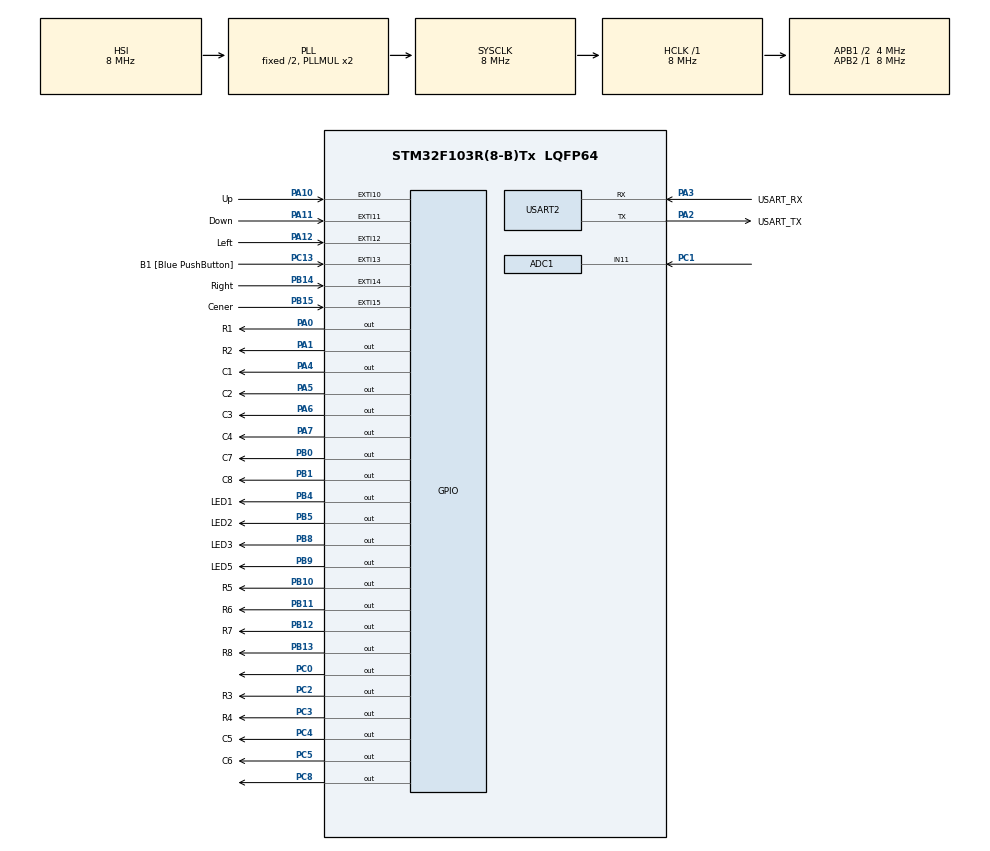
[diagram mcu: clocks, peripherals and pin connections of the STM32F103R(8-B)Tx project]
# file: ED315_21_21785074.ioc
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ADC1.Channel-1\#ChannelRegularConversion=ADC_CHANNEL_11
ADC1.NbrOfConversion=1
ADC1.NbrOfConversionFlag=1
ADC1.Rank-1\#ChannelRegularConversion=1
ADC1.SamplingTime-1\#ChannelRegularConversion=ADC_SAMPLETIME_1CYCLE_5
ADC1.master=1
Mcu.Family=STM32F1
Mcu.Name=STM32F103R(8-B)Tx
Mcu.Package=LQFP64
NVIC.EXTI15_10_IRQn=true\:0\:0\:false\:false\:true\:true\:true
NVIC.PriorityGroup=NVIC_PRIORITYGROUP_4
PA0-WKUP.GPIO_Label=R1
PA0-WKUP.Signal=GPIO_Output
PA1.GPIO_Label=R2
PA1.Signal=GPIO_Output
PA10.GPIO_Label=Up
PA10.GPIO_PuPd=GPIO_PULLUP
PA10.Signal=GPXTI10
PA11.GPIO_Label=Down
PA11.GPIO_PuPd=GPIO_PULLUP
PA11.Signal=GPXTI11
PA12.GPIO_Label=Left
PA12.GPIO_PuPd=GPIO_PULLUP
PA12.Signal=GPXTI12
PA13.GPIO_Label=TMS
PA13.Mode=Serial_Wire
PA13.Signal=SYS_JTMS-SWDIO
PA14.GPIO_Label=TCK
PA14.Mode=Serial_Wire
PA14.Signal=SYS_JTCK-SWCLK
PA2.GPIO_Label=USART_TX
PA2.GPIO_Mode=GPIO_MODE_AF_PP
PA2.GPIO_PuPd=GPIO_NOPULL
PA2.GPIO_Speed=GPIO_SPEED_FREQ_LOW
PA2.Mode=Asynchronous
PA2.Signal=USART2_TX
PA3.GPIO_Label=USART_RX
PA3.GPIO_Mode=GPIO_MODE_AF_PP
PA3.GPIO_PuPd=GPIO_NOPULL
PA3.GPIO_Speed=GPIO_SPEED_FREQ_LOW
PA3.Mode=Asynchronous
PA3.Signal=USART2_RX
PA4.GPIO_Label=C1
PA4.Signal=GPIO_Output
PA5.GPIO_Label=C2
PA5.Signal=GPIO_Output
PA6.GPIO_Label=C3
PA6.Signal=GPIO_Output
PA7.GPIO_Label=C4
PA7.Signal=GPIO_Output
PA8.Signal=S_TIM1_CH1
PA9.Signal=S_TIM1_CH2
PB0.GPIO_Label=C7
PB0.Signal=GPIO_Output
PB1.GPIO_Label=C8
PB1.Signal=GPIO_Output
PB10.GPIO_Label=R5
PB10.Signal=GPIO_Output
PB11.GPIO_Label=R6
PB11.Signal=GPIO_Output
PB12.GPIO_Label=R7
PB12.Signal=GPIO_Output
PB13.GPIO_Label=R8
PB13.Signal=GPIO_Output
PB14.GPIO_Label=Right
PB14.GPIO_PuPd=GPIO_PULLUP
PB14.Signal=GPXTI14
PB15.GPIO_Label=Cener
PB15.GPIO_PuPd=GPIO_PULLUP
PB15.Signal=GPXTI15
PB3.GPIO_Label=SWO
PB3.Signal=SYS_JTDO-TRACESWO
PB4.GPIO_Label=LED1
PB4.Signal=GPIO_Output
PB5.GPIO_Label=LED2
PB5.Signal=GPIO_Output
PB6.Signal=I2C1_SCL
PB7.Signal=I2C1_SDA
PB8.GPIO_Label=LED3
PB8.Signal=GPIO_Output
PB9.GPIO_Label=LED5
PB9.Signal=GPIO_Output
PC0.Signal=GPIO_Output
PC1.Signal=ADCx_IN11
PC13-TAMPER-RTC.GPIO_Label=B1 [Blue PushButton]
PC13-TAMPER-RTC.GPIO_PuPd=GPIO_PULLDOWN
PC13-TAMPER-RTC.Signal=GPXTI13
PC14-OSC32_IN.Mode=LSE-External-Oscillator
PC14-OSC32_IN.Signal=RCC_OSC32_IN
PC15-OSC32_OUT.Mode=LSE-External-Oscillator
PC15-OSC32_OUT.Signal=RCC_OSC32_OUT
PC2.GPIO_Label=R3
PC2.Signal=GPIO_Output
PC3.GPIO_Label=R4
PC3.Signal=GPIO_Output
PC4.GPIO_Label=C5
PC4.Signal=GPIO_Output
PC5.GPIO_Label=C6
PC5.Signal=GPIO_Output
PC6.Signal=S_TIM3_CH1
PC7.Signal=S_TIM3_CH2
PC8.GPIO_PuPd=GPIO_PULLDOWN
PC8.PinState=GPIO_PIN_SET
PC8.Signal=GPIO_Output
PC9.Signal=S_TIM3_CH4
PD0-OSC_IN.Mode=HSE-External-Clock-Source
PD0-OSC_IN.Signal=RCC_OSC_IN
PD1-OSC_OUT.Mode=HSE-External-Clock-Source
PD1-OSC_OUT.Signal=RCC_OSC_OUT
ProjectManager.HeapSize=0x200
ProjectManager.StackSize=0x400
ProjectManager.TargetToolchain=STM32CubeIDE
RCC.AHBFreq_Value=8000000
RCC.APB1CLKDivider=RCC_HCLK_DIV2
RCC.APB1Freq_Value=4000000
RCC.APB1TimFreq_Value=8000000
RCC.APB2Freq_Value=8000000
RCC.APB2TimFreq_Value=8000000
RCC.HCLKFreq_Value=8000000
RCC.RTCClockSelection=RCC_RTCCLKSOURCE_LSE
RCC.SYSCLKFreq_VALUE=8000000
RCC.SYSCLKSource=RCC_SYSCLKSOURCE_PLLCLK
RCC.USBFreq_Value=8000000
SH.ADCx_IN11.0=ADC1_IN11,IN11
SH.S_TIM1_CH1.0=TIM1_CH1
SH.S_TIM1_CH2.0=TIM1_CH2
SH.S_TIM3_CH1.0=TIM3_CH1
SH.S_TIM3_CH2.0=TIM3_CH2
SH.S_TIM3_CH4.0=TIM3_CH4
USART2.VirtualMode=VM_ASYNC
board=NUCLEO-F103RB

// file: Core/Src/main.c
/* USER CODE BEGIN Header */
/**
  ******************************************************************************
  * @file           : main.c
  * @brief          : Main program body
  ******************************************************************************
  * @attention
  *
  * <h2><center>&copy; Copyright (c) 2021 STMicroelectronics.
  * All rights reserved.</center></h2>
  *
  * This software component is licensed by ST under BSD 3-Clause license,
  * the "License"; You may not use this file except in compliance with the
  * License. You may obtain a copy of the License at:
  *                        opensource.org/licenses/BSD-3-Clause
  *
  ******************************************************************************
  */
/* USER CODE END Header */

#include "main.h"
#include <stdio.h>
#include <string.h>

ADC_HandleTypeDef hadc1;

UART_HandleTypeDef huart2;

/* USER CODE BEGIN PV */
uint8_t sysTicked = 0;

uint8_t buttonState[5] = {0,0,0,0,0}; 	// For tracking of physical button state
uint8_t inputState[5] = {0,0,0,0,0}; 	// For tracking how button press should be handled
uint16_t debounceTim[5] = {0,0,0,0,0}; 	// Debounce timers

uint32_t ref =10;

uint8_t startGame = 0;
uint8_t playerPos[2] = {0,0};
uint32_t playerTimer = 0;
uint8_t batTim = 0;
uint32_t playerFlashTim = 0;
uint8_t goalFlashTim = 0;
uint16_t mazeUARTTim = 0;

uint8_t ballPos[2] = {4,4};
uint16_t ballTim = 0;
uint16_t ballSpeedTim = 0; // How long before decreasing ball speed
uint32_t ballSpeed = 700; // How long ball timer runs
uint8_t ballDir = 1; // 4 1 2 5 0 3, clockwise starting at 1 hours. Ball never travels horisontally
uint8_t ballHits = 0;
uint8_t ballSpeedCnt = 1;
uint8_t tennisUARTTim = 0;
uint8_t inputMode = 0;		// Allows using slider and buttons by detecting which the user is trying to use

uint8_t gameMode = 4;  // 0 to 3 M1 to M4, 4 menu, 5 tennis, 6 mp tennis
uint8_t modeState = 1; // State of mode, 0 - new, 1 - ... - game sub-states

uint8_t curCol = 1;
uint8_t dispDat[8][8] = {
    {0,0,0,0,0,0,0,0},
	{0,0,0,0,0,0,0,0},
	{0,0,0,0,0,0,0,0},
	{0,0,0,0,0,0,0,0},
	{0,0,0,0,0,0,0,0},
	{0,0,0,0,0,0,0,0},
	{0,0,0,0,0,0,0,0},
	{0,0,0,0,0,0,0,0}
};

uint8_t clearDisp[8][8] = {
    {0,0,0,0,0,0,0,0},
	{0,0,0,0,0,0,0,0},
	{0,0,0,0,0,0,0,0},
	{0,0,0,0,0,0,0,0},
	{0,0,0,0,0,0,0,0},
	{0,0,0,0,0,0,0,0},
	{0,0,0,0,0,0,0,0},
	{0,0,0,0,0,0,0,0}
};

uint8_t menuDisp[8][8] = {
    {1,0,0,0,0,0,0,1},
	{0,0,0,0,0,0,0,0},
	{0,0,0,0,0,0,0,0},
	{0,0,0,0,0,0,0,0},
	{0,0,0,0,0,0,0,0},
	{0,0,0,0,0,0,0,0},
	{0,0,0,0,0,0,0,0},
	{1,0,0,0,0,0,0,1}
};

uint8_t number1[8][8] = {
    {0,0,0,0,0,0,0,0},
	{0,0,0,1,0,0,0,0},
	{0,0,0,1,0,0,0,0},
	{0,0,0,1,0,0,0,0},
	{0,0,0,1,0,0,0,0},
	{0,0,0,1,0,0,0,0},
	{0,0,0,1,0,0,0,0},
	{0,0,0,0,0,0,0,0}
};

uint8_t number2[8][8] = {
    {0,0,0,0,0,0,0,0},
	{0,0,0,1,1,0,0,0},
	{0,0,1,0,0,1,0,0},
	{0,0,0,0,0,1,0,0},
	{0,0,0,0,1,0,0,0},
	{0,0,0,1,0,0,0,0},
	{0,0,1,1,1,1,0,0},
	{0,0,0,0,0,0,0,0}
};

uint8_t number3[8][8] = {
    {0,0,0,0,0,0,0,0},
	{0,0,1,1,0,0,0,0},
	{0,0,0,0,1,0,0,0},
	{0,0,1,1,0,0,0,0},
	{0,0,0,0,1,0,0,0},
	{0,0,0,0,1,0,0,0},
	{0,0,1,1,0,0,0,0},
	{0,0,0,0,0,0,0,0}
};

uint8_t number4[8][8] = {
    {0,0,0,0,0,0,0,0},
	{0,0,0,0,0,0,1,0},
	{0,0,0,0,0,1,0,0},
	{0,0,0,0,1,0,0,0},
	{0,0,0,1,0,1,0,0},
	{0,0,1,1,1,1,1,0},
	{0,0,0,0,0,1,0,0},
	{0,0,0,0,0,0,0,0}
};

uint8_t maze1[8][8] = {
    {0,0,0,0,0,0,1,0},
	{1,1,0,1,1,0,0,0},
	{0,0,0,0,0,0,1,0},
	{0,1,1,1,1,1,0,1},
	{0,0,0,0,1,0,0,0},
	{1,1,0,1,1,0,1,0},
	{0,0,0,1,0,0,1,0},
	{0,1,0,0,0,1,1,2}
};

uint8_t goalPos[4][2] = {
		{7,7},
		{3,3},
		{7,7},
		{0,2},

};

uint8_t goalIndex = 1;

uint8_t maze2[8][8] = {
	    {0,0,0,0,0,0,0,0},
		{0,1,0,1,0,1,1,0},
		{0,0,1,0,1,0,0,0},
		{0,1,0,2,0,0,1,1},
		{0,0,1,1,1,1,0,0},
		{1,0,1,0,0,1,1,0},
		{0,0,1,0,0,0,1,0},
		{0,0,0,0,1,0,0,0}
	};

uint8_t maze3[8][8] = {
    {0,0,0,1,1,0,0,0},
	{0,1,0,0,1,0,1,0},
	{0,0,1,0,1,0,1,0},
	{1,0,1,0,0,0,1,0},
	{0,0,1,0,1,1,1,0},
	{0,1,0,0,1,0,0,0},
	{0,1,0,1,1,0,1,1},
	{0,0,0,0,1,0,0,2}
};

uint8_t maze4[8][8] = {
    {0,1,2,1,0,0,0,0},
	{0,1,0,0,0,1,1,0},
	{0,1,1,1,1,0,0,0},
	{0,1,0,0,1,0,1,0},
	{0,1,0,1,0,0,1,0},
	{0,0,0,0,0,1,0,0},
	{1,1,1,1,1,1,0,1},
	{0,0,0,0,0,0,0,0}
};

/* USER CODE END PV */

void SystemClock_Config(void);
static void MX_GPIO_Init(void);
static void MX_USART2_UART_Init(void);
static void MX_ADC1_Init(void);

int main(void)
{
  /* USER CODE BEGIN 1 */
	void displayTest();
	void inputHandler();
	void updateDisp();
	void timeKeeper();
	void updateMovement();
	void updateMovement1();
	void copyMatrix(uint8_t arr[8][8]);
	void renderPaddle();
	void updateBall();
	void mazeSelect();
	void modeTennis();
	void modeMaze();

  /* USER CODE END 1 */

  /* MCU Configuration--------------------------------------------------------*/

  /* Reset of all peripherals, Initializes the Flash interface and the Systick. */
  HAL_Init();

  /* Configure the system clock */
  SystemClock_Config();

  /* Initialize all configured peripherals */
  MX_GPIO_Init();
  MX_USART2_UART_Init();
  MX_ADC1_Init();
  /* USER CODE BEGIN 2 */
  uint8_t data[] = {'$', '2', '1', '7' ,'8' ,'5', '0', '7', '4', '\n'};

  HAL_UART_Transmit(&huart2, data, sizeof(data) , 100);

  displayTest();

  copyMatrix(menuDisp);
  /* USER CODE END 2 */

  /* Infinite loop */
  while (1)
  {

	  /* ToDo

	   */
	  /* NOTES FOR REPORT
	   *
	   */

	  if (sysTicked == 1) timeKeeper();
	  updateDisp();
	  inputHandler();

	  if (gameMode == 0) modeMaze();
	  if (gameMode == 1) mazeSelect();
	  if (gameMode == 5) modeTennis();
	  else if (gameMode == 4)
	  {
		  if (inputState[3] == 1)
		  	  {
			  	  inputState[3] = 3;
		  		  gameMode = 1;
		  		  modeState = 0;
		  	  }

		  if (inputState[0] == 1)
			{
			  	  inputState[0] = 3;
				  gameMode = 5;
				  modeState = 0;
			}

		  copyMatrix(menuDisp);
	  }

  }
}

void SystemClock_Config(void)
{
  RCC_OscInitTypeDef RCC_OscInitStruct = {0};
  RCC_ClkInitTypeDef RCC_ClkInitStruct = {0};
  RCC_PeriphCLKInitTypeDef PeriphClkInit = {0};

  /** Initializes the CPU, AHB and APB busses clocks
  */
  RCC_OscInitStruct.OscillatorType = RCC_OSCILLATORTYPE_HSI;
  RCC_OscInitStruct.HSIState = RCC_HSI_ON;
  RCC_OscInitStruct.HSICalibrationValue = RCC_HSICALIBRATION_DEFAULT;
  RCC_OscInitStruct.PLL.PLLState = RCC_PLL_ON;
  RCC_OscInitStruct.PLL.PLLSource = RCC_PLLSOURCE_HSI_DIV2;
  RCC_OscInitStruct.PLL.PLLMUL = RCC_PLL_MUL2;
  if (HAL_RCC_OscConfig(&RCC_OscInitStruct) != HAL_OK)
  {
    Error_Handler();
  }
  /** Initializes the CPU, AHB and APB busses clocks
  */
  RCC_ClkInitStruct.ClockType = RCC_CLOCKTYPE_HCLK|RCC_CLOCKTYPE_SYSCLK
                              |RCC_CLOCKTYPE_PCLK1|RCC_CLOCKTYPE_PCLK2;
  RCC_ClkInitStruct.SYSCLKSource = RCC_SYSCLKSOURCE_PLLCLK;
  RCC_ClkInitStruct.AHBCLKDivider = RCC_SYSCLK_DIV1;
  RCC_ClkInitStruct.APB1CLKDivider = RCC_HCLK_DIV2;
  RCC_ClkInitStruct.APB2CLKDivider = RCC_HCLK_DIV1;

  if (HAL_RCC_ClockConfig(&RCC_ClkInitStruct, FLASH_LATENCY_0) != HAL_OK)
  {
    Error_Handler();
  }
  PeriphClkInit.PeriphClockSelection = RCC_PERIPHCLK_ADC;
  PeriphClkInit.AdcClockSelection = RCC_ADCPCLK2_DIV2;
  if (HAL_RCCEx_PeriphCLKConfig(&PeriphClkInit) != HAL_OK)
  {
    Error_Handler();
  }
}

static void MX_ADC1_Init(void)
{

  ADC_ChannelConfTypeDef sConfig = {0};

  /** Common config
  */
  hadc1.Instance = ADC1;
  hadc1.Init.ScanConvMode = ADC_SCAN_DISABLE;
  hadc1.Init.ContinuousConvMode = DISABLE;
  hadc1.Init.DiscontinuousConvMode = DISABLE;
  hadc1.Init.ExternalTrigConv = ADC_SOFTWARE_START;
  hadc1.Init.DataAlign = ADC_DATAALIGN_RIGHT;
  hadc1.Init.NbrOfConversion = 1;
  if (HAL_ADC_Init(&hadc1) != HAL_OK)
  {
    Error_Handler();
  }
  /** Configure Regular Channel
  */
  sConfig.Channel = ADC_CHANNEL_11;
  sConfig.Rank = ADC_REGULAR_RANK_1;
  sConfig.SamplingTime = ADC_SAMPLETIME_1CYCLE_5;
  if (HAL_ADC_ConfigChannel(&hadc1, &sConfig) != HAL_OK)
  {
    Error_Handler();
  }

}

static void MX_USART2_UART_Init(void)
{

  huart2.Instance = USART2;
  huart2.Init.BaudRate = 115200;
  huart2.Init.WordLength = UART_WORDLENGTH_8B;
  huart2.Init.StopBits = UART_STOPBITS_1;
  huart2.Init.Parity = UART_PARITY_NONE;
  huart2.Init.Mode = UART_MODE_TX_RX;
  huart2.Init.HwFlowCtl = UART_HWCONTROL_NONE;
  huart2.Init.OverSampling = UART_OVERSAMPLING_16;
  if (HAL_UART_Init(&huart2) != HAL_OK)
  {
    Error_Handler();
  }

}

static void MX_GPIO_Init(void)
{
  GPIO_InitTypeDef GPIO_InitStruct = {0};

  /* GPIO Ports Clock Enable */
  __HAL_RCC_GPIOC_CLK_ENABLE();
  __HAL_RCC_GPIOD_CLK_ENABLE();
  __HAL_RCC_GPIOA_CLK_ENABLE();
  __HAL_RCC_GPIOB_CLK_ENABLE();

  /*Configure GPIO pin Output Level */
  HAL_GPIO_WritePin(GPIOC, GPIO_PIN_0|R3_Pin|R4_Pin|C5_Pin
                          |C6_Pin, GPIO_PIN_RESET);

  /*Configure GPIO pin Output Level */
  HAL_GPIO_WritePin(GPIOA, R1_Pin|R2_Pin|C1_Pin|C2_Pin
                          |C3_Pin|C4_Pin, GPIO_PIN_RESET);

  /*Configure GPIO pin Output Level */
  HAL_GPIO_WritePin(GPIOB, C7_Pin|C8_Pin|R5_Pin|R6_Pin
                          |R7_Pin|R8_Pin|LED1_Pin|LED2_Pin
                          |LED3_Pin|LED5_Pin, GPIO_PIN_RESET);

  /*Configure GPIO pin Output Level */
  HAL_GPIO_WritePin(GPIOC, GPIO_PIN_8, GPIO_PIN_SET);

  /*Configure GPIO pin : B1_Pin */
  GPIO_InitStruct.Pin = B1_Pin;
  GPIO_InitStruct.Mode = GPIO_MODE_IT_RISING;
  GPIO_InitStruct.Pull = GPIO_PULLDOWN;
  HAL_GPIO_Init(B1_GPIO_Port, &GPIO_InitStruct);

  /*Configure GPIO pins : PC0 R3_Pin R4_Pin C5_Pin
                           C6_Pin */
  GPIO_InitStruct.Pin = GPIO_PIN_0|R3_Pin|R4_Pin|C5_Pin
                          |C6_Pin;
  GPIO_InitStruct.Mode = GPIO_MODE_OUTPUT_PP;
  GPIO_InitStruct.Pull = GPIO_NOPULL;
  GPIO_InitStruct.Speed = GPIO_SPEED_FREQ_LOW;
  HAL_GPIO_Init(GPIOC, &GPIO_InitStruct);

  /*Configure GPIO pins : R1_Pin R2_Pin C1_Pin C2_Pin
                           C3_Pin C4_Pin */
  GPIO_InitStruct.Pin = R1_Pin|R2_Pin|C1_Pin|C2_Pin
                          |C3_Pin|C4_Pin;
  GPIO_InitStruct.Mode = GPIO_MODE_OUTPUT_PP;
  GPIO_InitStruct.Pull = GPIO_NOPULL;
  GPIO_InitStruct.Speed = GPIO_SPEED_FREQ_LOW;
  HAL_GPIO_Init(GPIOA, &GPIO_InitStruct);

  /*Configure GPIO pins : C7_Pin C8_Pin R5_Pin R6_Pin
                           R7_Pin R8_Pin LED1_Pin LED2_Pin
                           LED3_Pin LED5_Pin */
  GPIO_InitStruct.Pin = C7_Pin|C8_Pin|R5_Pin|R6_Pin
                          |R7_Pin|R8_Pin|LED1_Pin|LED2_Pin
                          |LED3_Pin|LED5_Pin;
  GPIO_InitStruct.Mode = GPIO_MODE_OUTPUT_PP;
  GPIO_InitStruct.Pull = GPIO_NOPULL;
  GPIO_InitStruct.Speed = GPIO_SPEED_FREQ_LOW;
  HAL_GPIO_Init(GPIOB, &GPIO_InitStruct);

  /*Configure GPIO pins : Right_Pin Cener_Pin */
  GPIO_InitStruct.Pin = Right_Pin|Cener_Pin;
  GPIO_InitStruct.Mode = GPIO_MODE_IT_RISING;
  GPIO_InitStruct.Pull = GPIO_PULLUP;
  HAL_GPIO_Init(GPIOB, &GPIO_InitStruct);

  /*Configure GPIO pins : PC6 PC7 PC9 */
  GPIO_InitStruct.Pin = GPIO_PIN_6|GPIO_PIN_7|GPIO_PIN_9;
  GPIO_InitStruct.Mode = GPIO_MODE_AF_PP;
  GPIO_InitStruct.Speed = GPIO_SPEED_FREQ_LOW;
  HAL_GPIO_Init(GPIOC, &GPIO_InitStruct);

  /*Configure GPIO pin : PC8 */
  GPIO_InitStruct.Pin = GPIO_PIN_8;
  GPIO_InitStruct.Mode = GPIO_MODE_OUTPUT_PP;
  GPIO_InitStruct.Pull = GPIO_PULLDOWN;
  GPIO_InitStruct.Speed = GPIO_SPEED_FREQ_LOW;
  HAL_GPIO_Init(GPIOC, &GPIO_InitStruct);

  /*Configure GPIO pins : PA8 PA9 */
  GPIO_InitStruct.Pin = GPIO_PIN_8|GPIO_PIN_9;
  GPIO_InitStruct.Mode = GPIO_MODE_AF_PP;
  GPIO_InitStruct.Speed = GPIO_SPEED_FREQ_LOW;
  HAL_GPIO_Init(GPIOA, &GPIO_InitStruct);

  /*Configure GPIO pins : Up_Pin Down_Pin Left_Pin */
  GPIO_InitStruct.Pin = Up_Pin|Down_Pin|Left_Pin;
  GPIO_InitStruct.Mode = GPIO_MODE_IT_RISING;
  GPIO_InitStruct.Pull = GPIO_PULLUP;
  HAL_GPIO_Init(GPIOA, &GPIO_InitStruct);

  /*Configure GPIO pins : PB6 PB7 */
  GPIO_InitStruct.Pin = GPIO_PIN_6|GPIO_PIN_7;
  GPIO_InitStruct.Mode = GPIO_MODE_AF_OD;
  GPIO_InitStruct.Speed = GPIO_SPEED_FREQ_HIGH;
  HAL_GPIO_Init(GPIOB, &GPIO_InitStruct);

  /*Configure peripheral I/O remapping */
  __HAL_AFIO_REMAP_TIM3_ENABLE();

  /* EXTI interrupt init*/
  HAL_NVIC_SetPriority(EXTI15_10_IRQn, 0, 0);
  HAL_NVIC_EnableIRQ(EXTI15_10_IRQn);

}

/* USER CODE BEGIN 4 */

void updateDisp()
{

	if (ref <= 0)
	{
		ref = 3;

		if (curCol == 1) 		// FIRST SELECT COLUMN
		{
			HAL_GPIO_WritePin(GPIOB, C8_Pin, GPIO_PIN_RESET);
			HAL_GPIO_WritePin(GPIOA, C1_Pin, GPIO_PIN_SET);
		}
		else if (curCol == 2)
		{
			HAL_GPIO_WritePin(GPIOA, C1_Pin, GPIO_PIN_RESET);
			HAL_GPIO_WritePin(GPIOA, C2_Pin, GPIO_PIN_SET);
		}
		else if (curCol == 3)
		{
			HAL_GPIO_WritePin(GPIOA, C2_Pin, GPIO_PIN_RESET);
			HAL_GPIO_WritePin(GPIOA, C3_Pin, GPIO_PIN_SET);
		}
		else if (curCol == 4)
		{
			HAL_GPIO_WritePin(GPIOA, C3_Pin, GPIO_PIN_RESET);
			HAL_GPIO_WritePin(GPIOA, C4_Pin, GPIO_PIN_SET);
		}
		else if (curCol == 5) 		// FIRST SELECT COLUMN
		{
			HAL_GPIO_WritePin(GPIOA, C4_Pin, GPIO_PIN_RESET);
			HAL_GPIO_WritePin(GPIOC, C5_Pin, GPIO_PIN_SET);
		}
		else if (curCol == 6)
		{
			HAL_GPIO_WritePin(GPIOC, C5_Pin, GPIO_PIN_RESET);
			HAL_GPIO_WritePin(GPIOC, C6_Pin, GPIO_PIN_SET);
		}
		else if (curCol == 7)
		{
			HAL_GPIO_WritePin(GPIOC, C6_Pin, GPIO_PIN_RESET);
			HAL_GPIO_WritePin(GPIOB, C7_Pin, GPIO_PIN_SET);
		}
		else if (curCol == 8)
		{
			HAL_GPIO_WritePin(GPIOB, C7_Pin, GPIO_PIN_RESET);
			HAL_GPIO_WritePin(GPIOB, C8_Pin, GPIO_PIN_SET);
		}

		//					// TOGGLE LEDS IN COL
		if (dispDat[0][curCol - 1] == 1) {HAL_GPIO_WritePin(GPIOA, R1_Pin, GPIO_PIN_SET);} else {HAL_GPIO_WritePin(GPIOA, R1_Pin, GPIO_PIN_RESET);}

		if (dispDat[1][curCol - 1]== 1) {HAL_GPIO_WritePin(GPIOA, R2_Pin, GPIO_PIN_SET);} else {HAL_GPIO_WritePin(GPIOA, R2_Pin, GPIO_PIN_RESET);}

		if (dispDat[2][curCol - 1]== 1) {HAL_GPIO_WritePin(GPIOC, R3_Pin, GPIO_PIN_SET);} else {HAL_GPIO_WritePin(GPIOC, R3_Pin, GPIO_PIN_RESET);}

		if (dispDat[3][curCol - 1]== 1) {HAL_GPIO_WritePin(GPIOC, R4_Pin, GPIO_PIN_SET);} else {HAL_GPIO_WritePin(GPIOC, R4_Pin, GPIO_PIN_RESET);}

		if (dispDat[4][curCol - 1] == 1) {HAL_GPIO_WritePin(GPIOB, R5_Pin, GPIO_PIN_SET);} else {HAL_GPIO_WritePin(GPIOB, R5_Pin, GPIO_PIN_RESET);}

		if (dispDat[5][curCol - 1]== 1) {HAL_GPIO_WritePin(GPIOB, R6_Pin, GPIO_PIN_SET);} else {HAL_GPIO_WritePin(GPIOB, R6_Pin, GPIO_PIN_RESET);}

		if (dispDat[6][curCol - 1]== 1) {HAL_GPIO_WritePin(GPIOB, R7_Pin, GPIO_PIN_SET);} else {HAL_GPIO_WritePin(GPIOB, R7_Pin, GPIO_PIN_RESET);}

		if (dispDat[7][curCol - 1]== 1) {HAL_GPIO_WritePin(GPIOB, R8_Pin, GPIO_PIN_SET);} else {HAL_GPIO_WritePin(GPIOB, R8_Pin, GPIO_PIN_RESET);}

		if (curCol < 8) curCol++; 	else curCol = 1;
	}
}

void timeKeeper()
{

	sysTicked = 0;
	if (playerFlashTim > 0) playerFlashTim--;
	for (uint8_t i = 0; i<5; i++)
	{
		if (debounceTim[i] > 0) debounceTim[i]--;
	}

	if (playerTimer > 0) playerTimer--;

	if (ref > 0) ref--;

	if (ballTim > 0) ballTim --;
	if (batTim > 0) batTim --;
	if (ballSpeedTim > 0) ballSpeedTim--;
	if (goalFlashTim > 0) goalFlashTim--;
	if (mazeUARTTim > 0) mazeUARTTim--;
	if (tennisUARTTim > 0) tennisUARTTim--;
	/*
	 * uint8_t playerFlashTim = 0;
		uint8_t goalFlashTim = 0;
	 *
	 */

}

void renderPaddle()
{
	dispDat[playerPos[0]][playerPos[1]+1] = 1;
}

void updateMovement()
{
	if (playerTimer == 0)
	{
		uint8_t oldPlayerPos[2] = {playerPos[0], playerPos[1]};

		if (inputState[2] == 1)				// Allows button holds
			{
				if (playerPos[0] < 7) playerPos[0] ++;
				playerTimer = 300;
			}

		else if (inputState[1] == 1)
			{
				if (playerPos[0] > 0) playerPos[0] --;
				playerTimer = 300;
			}

		else if (inputState[3] == 1)
			{
				if (playerPos[1] > 0) playerPos[1] --;
				playerTimer = 300;
			}

		else if (inputState[4] == 1)
			{
				if (playerPos[1] < 7) playerPos[1] ++;
				playerTimer = 300;
			}

		if ((dispDat[playerPos[0]][playerPos[1]] == 1) && !((playerPos[0] == goalPos[goalIndex][0])&&(playerPos[1] == goalPos[goalIndex][1])))  { playerPos[0] = oldPlayerPos[0]; playerPos[1] = oldPlayerPos[1];}
		else {
			if (dispDat[oldPlayerPos[0]][oldPlayerPos[1]] == 1 ) {
				dispDat[oldPlayerPos[0]][oldPlayerPos[1]] = 0;
				dispDat[playerPos[0]][playerPos[1]] = 1;
			}
		}

	}
}

void updateMovement1()
{		//			NEEDS UPDATING - Only sample ADC when ADC so that buttons can be used as well.
		//			THOUGH ADC NOT USED IN FINAL ITERATION...
	if (batTim == 0)
	{
		dispDat[playerPos[0]][playerPos[1]] = 0;
		dispDat[playerPos[0]+1][playerPos[1]] = 0;

		if (inputState[2] == 1)				// Allows button holds
					{
						if (playerPos[0] < 7) playerPos[0] ++;
						batTim = 100;
					}

				else if (inputState[1] == 1)
					{
						if (playerPos[0] > 0) playerPos[0] --;
						batTim = 100;
					}

				else if (inputState[3] == 1)
					{
						if (playerPos[1] > 0) playerPos[1] --;
						batTim = 100;
					}

				else if (inputState[4] == 1)
					{
						if (playerPos[1] < 7) playerPos[1] ++;
						batTim = 100;
					}
		/*

			HAL_ADC_Start(&hadc1);
			HAL_ADC_PollForConversion(&hadc1, HAL_MAX_DELAY);
			uint16_t raw = HAL_ADC_GetValue(&hadc1);

			if (raw < 800){
				if (playerPos[0] > 0) playerPos[0]--;
				else if (playerPos[0] < 0) playerPos[0]++;
			}
			else if (raw < 1400)
				{
					if (playerPos[0] > 1) playerPos[0]--;
					else if (playerPos[0] < 1) playerPos[0]++;
				}
			else if (raw < 2000)
			{
				if (playerPos[0] > 2) playerPos[0]--;
				else if (playerPos[0] < 2) playerPos[0]++;
			}
			else if (raw < 2600)
			{
				if (playerPos[0] > 3) playerPos[0]--;
				else if (playerPos[0] < 3) playerPos[0]++;
			}
			else if (raw < 3200)
			{
				if (playerPos[0] > 4) playerPos[0]--;
				else if (playerPos[0] < 4) playerPos[0]++;
			}
			else if (raw < 3800)
			{
				if (playerPos[0] > 5) playerPos[0]--;
				else if (playerPos[0] < 5) playerPos[0]++;
			}
			else  			{
				if (playerPos[0] > 5) playerPos[0]--;
				else if (playerPos[0] < 5) playerPos[0]++;
			}
		 */

		dispDat[playerPos[0]][playerPos[1]] = 1;
		dispDat[playerPos[0]+1][playerPos[1]] = 1;

	}
}

void updateBall()
{

	if (ballTim <= 0)
	{
		dispDat[ballPos[0]][ballPos[1]] = 0;
		ballTim = ballSpeed;
		uint8_t recalc = 1;
		uint8_t ballHit = 0;

		while (recalc == 1)
		{

			if (ballDir == 4)
			{
				if (ballPos[0] == 0)
					{
						ballDir = 2;
					}
				else if (ballPos[1] == 7)
					{
						ballDir = 3;
					}
				else
					{
						recalc = 0;
						ballPos[0]--;
						ballPos[1]++;
					}
			}
			else if (ballDir == 1)
			{
				if (ballPos[1] == 7)
					{
						ballDir = 0;
					}
				else
				{
					recalc = 0;
					ballPos[1]++;
				}
			}

			else if (ballDir == 0)
			{
				if (ballPos[1] == 0){
					recalc = 0;// End game
					modeState = 2;
				}

				else if (ballPos[1] == playerPos[1]+1)
				{
					if (ballPos[0] == playerPos[0]){
						ballDir = 4;
						ballHit = 1;
					}
					else if (ballPos[0] == (playerPos[0]+1)){
						ballDir = 2;
						ballHit = 1;
				} else {
					recalc = 0;
					ballPos[1]--;
				}

				}
				else {
					recalc = 0;
					ballPos[1]--;
				}
			}

			else if (ballDir == 2)
			{
				if (ballPos[1] == 7)
					{
						ballDir = 5;
					}
				else if (ballPos[0] == 7)
					{
						ballDir = 4;
					}
				else
				{
					recalc = 0;
					ballPos[0]++;
					ballPos[1]++;
				}
			}

			else if (ballDir == 3)
			{
				if (ballPos[1] == 0){
					recalc = 0;// End game

					modeState = 2;
				}
				else if (ballPos[0] == 0){
					ballDir = 5;
				}

				else if (ballPos[1] == playerPos[1]+1)
				{
					if (ballPos[0] == playerPos[0]){
						ballDir = 4;
						ballHit = 1;
					}
					else if (ballPos[0] == (playerPos[0]+1)){
						ballDir = 4;
						ballHit = 1;
					}
					else if (ballPos[0] == (playerPos[0]+2)){
						ballDir = 2;
						ballHit = 1;
					} else {
						recalc = 0;

						ballPos[0]--;
						ballPos[1]--;
					}

				}
				else {
					recalc = 0;
					ballPos[0]--;
					ballPos[1]--;
				}
			}

			else if (ballDir == 5)
			{
				if (ballPos[1] == 0){
					recalc = 0;// End game

					modeState = 2;

				}
				else if (ballPos[0] == 7){
					ballDir = 3;
				}

				else if (ballPos[1] == playerPos[1]+1)
				{
					if (ballPos[0] == playerPos[0]){
						ballHit = 1;
						ballDir = 2;
					}
					else if (ballPos[0] == (playerPos[0]+1)){
						ballDir = 2;
						ballHit = 1;
					}
					else if (ballPos[0] == (playerPos[0]-1)){
						ballDir = 4;
						ballHit = 1;
					}else {
						recalc = 0;
						ballPos[0]++;
						ballPos[1]--;
					}

				}
				else {
					recalc = 0;
					ballPos[0]++;
					ballPos[1]--;
				}
			}

		}

		if (ballHit == 1) ballHits++;

			dispDat[ballPos[0]][ballPos[1]] = 1;

	}

}

void inputHandler()
{
	// Track physical states
	buttonState[0] = !HAL_GPIO_ReadPin(GPIOB,Cener_Pin);
	buttonState[1] = !HAL_GPIO_ReadPin(GPIOA,Up_Pin);
	buttonState[2] = !HAL_GPIO_ReadPin(GPIOA,Down_Pin);
	buttonState[3] = !HAL_GPIO_ReadPin(GPIOA,Left_Pin);
	buttonState[4] = !HAL_GPIO_ReadPin(GPIOB,Right_Pin);

	for (uint8_t i = 0; i<5; i++)
	{

		if (inputState[i] == 0)				// Allow input to be set if they are in dormant state
		{
			inputState[i]  = buttonState[i];
		}
		else if ((buttonState[i] == 0) && (debounceTim[i] == 0) && (inputState[i] != 2))		// debounce if not already debounced, button released and input not dormant
		{
			inputState[i] = 2;
			debounceTim[i] = 10;
		}
		else if ((inputState[i] == 2) && (debounceTim[i] == 0))									// reset after debouncing period
		{
			inputState[i] = 0;
			debounceTim[i] = 0;
		}

		// WHAT HAVE I DONE?
		/*
		 * Buttons can be set
		 * Input state may be modified to a value not used here by external functions (usefull for button holds)
		 * Debouncing independent of external manipulation
		 */

	}

}

void copyMatrix(uint8_t arr[8][8])
{
	for (uint8_t i = 0; i < 8; i++)
	{
		for (uint8_t j = 0; j < 8; j++)
			{
				dispDat[i][j] = arr[i][j];
			}
	}

}

void mazeSelect()
{
	HAL_GPIO_WritePin(GPIOB, LED1_Pin, GPIO_PIN_RESET);
	HAL_GPIO_WritePin(GPIOB, LED2_Pin, GPIO_PIN_RESET);
	HAL_GPIO_WritePin(GPIOB, LED3_Pin, GPIO_PIN_RESET);
    HAL_GPIO_WritePin(GPIOB, LED5_Pin, GPIO_PIN_RESET);

		if (inputState[1] == 1)
			{
				if (modeState < 3) modeState++;
				else modeState = 0;
				inputState[1] = 3;
			}

			if (inputState[2] == 1)
			{
				if (modeState > 0) modeState--;
				else modeState = 3;
				inputState[2] = 3;
			}

		if (modeState == 0) {
			copyMatrix(number1);
			HAL_GPIO_WritePin(GPIOB, LED1_Pin, GPIO_PIN_SET);
		}
		else if (modeState == 1)
		{
			copyMatrix(number2);
			HAL_GPIO_WritePin(GPIOB, LED2_Pin, GPIO_PIN_SET);

		}
		else if (modeState == 2)
		{
			copyMatrix(number3);
			HAL_GPIO_WritePin(GPIOB, LED3_Pin, GPIO_PIN_SET);
		}
		else if (modeState == 3)
		{
			copyMatrix(number4);
			HAL_GPIO_WritePin(GPIOB, LED5_Pin, GPIO_PIN_SET);
		}

		if (inputState[0] == 1)
					{
			if (modeState == 0) {
						copyMatrix(maze1);
						goalIndex = 0;

					}
					else if (modeState == 1)
					{
						copyMatrix(maze2);
						goalIndex = 1;
					}
					else if (modeState == 2)
					{
						copyMatrix(maze3);
						goalIndex = 2;
					}
					else if (modeState == 3)
					{
						copyMatrix(maze4);
						goalIndex = 3;
					}

						gameMode = 0;
						modeState = 0;
						inputState[0] = 3;
					}

}

void modeMaze()
{
	if (modeState == 0)
	{

		playerPos[0] = 0; playerPos[1] = 0;
		modeState = 1;
	}

	if (modeState == 1)
	{

		char c3 = '0';
		char c4 = '0';
		updateMovement();
		if (playerFlashTim == 0)
		{
			playerFlashTim = 300;
			if (dispDat[playerPos[0]][playerPos[1]] != 0){
					dispDat[playerPos[0]][playerPos[1]] = 0;
					c3 = '0';

				}
			else if (dispDat[playerPos[0]][playerPos[1]] != 1) {
				dispDat[playerPos[0]][playerPos[1]] = 1;
				c3 = '1';
			}
		}

		if (goalFlashTim == 0)
				{
					goalFlashTim = 100;
					if (dispDat[goalPos[goalIndex][0]][goalPos[goalIndex][1]] != 0)
						{
						dispDat[goalPos[goalIndex][0]][goalPos[goalIndex][1]] = 0;
						c4 = '0';
						}
					else if (dispDat[goalPos[goalIndex][0]][goalPos[goalIndex][1]] != 1) {
						dispDat[goalPos[goalIndex][0]][goalPos[goalIndex][1]] = 1;
						c4 = '1';
					}
				}

		if (mazeUARTTim == 0)
		{
			mazeUARTTim = 300;
			char c1 = playerPos[1]+'0';
			char c2 = playerPos[0]+'0';

			char c5 = '1';				//would be used for IMU

			uint8_t data[] = {'$' , '3',c1,c2,c3,c4,c5,'_','_','\n'};

			HAL_UART_Transmit(&huart2, data, sizeof(data) , 100);
		}

		if ((playerPos[0] == goalPos[goalIndex][0])&&(playerPos[1] == goalPos[goalIndex][1]))
		{
			modeState = 1;
			// AN UNFORSEEN PROBLEM - IF ENDS ON LEFT PRESS, MAKE SURE IT IS NOT HOLDABLE
			inputState[3] = 3;
			gameMode = 4;
			HAL_GPIO_WritePin(GPIOB, LED1_Pin, GPIO_PIN_RESET);
				HAL_GPIO_WritePin(GPIOB, LED2_Pin, GPIO_PIN_RESET);
				HAL_GPIO_WritePin(GPIOB, LED3_Pin, GPIO_PIN_RESET);
			    HAL_GPIO_WritePin(GPIOB, LED5_Pin, GPIO_PIN_RESET);
		}

		if (inputState[0] == 1)
		{
				inputState[0] = 3;

				gameMode = 4;
				HAL_GPIO_WritePin(GPIOB, LED1_Pin, GPIO_PIN_RESET);
					HAL_GPIO_WritePin(GPIOB, LED2_Pin, GPIO_PIN_RESET);
					HAL_GPIO_WritePin(GPIOB, LED3_Pin, GPIO_PIN_RESET);
				    HAL_GPIO_WritePin(GPIOB, LED5_Pin, GPIO_PIN_RESET);
		}
	}

}

void modeTennis()
	{
		/*
		 * Timers
		 * display
		 * user input
		 * playermovement
		 * ballmovement
		 */

		if (modeState == 0)
		{
			ballDir = 0;
			ballSpeed = 700;
			ballHits = 0;
			copyMatrix(clearDisp);
			playerPos[0] = 4; playerPos[1] = 0;
			ballPos[0] = 4; ballPos[1] = 7;
			modeState = 1;
			ballSpeedCnt = 1;
		}

		if (modeState == 1)
		{

			if ((ballHits == 3) && ( ballSpeedCnt < 9)) {
				ballHits = 0;
				ballSpeed -= 50;
				ballSpeedCnt ++;
				ballTim = ballSpeed;
			}

			updateBall();

			updateMovement1();

			if (tennisUARTTim == 0)
					{
						tennisUARTTim = 100;
						char c1 = ballPos[1]+'0';
						char c2 = ballPos[0]+'0';
						char c3 = playerPos[1]+'0';
						char c4 = playerPos[0]+'0';
						char c5 = ballSpeedCnt + '0';
						char c6 = ballDir + '0';
						char c7 = '1'; // for IMU

						uint8_t data[] = {'$' , '2',c1,c2,c5,c6,c3,c4,c7,'\n'};

						HAL_UART_Transmit(&huart2, data, sizeof(data) , 100);
					}

		}

		if (modeState == 2)
		{
			modeState = 1;
			gameMode = 4;
		}

		if (inputState[0] == 1)
				{
					inputState[0] = 3;
					modeState = 1;
					gameMode = 4;

				}

	}

void displayTest()
{
	uint32_t timerA = 0;

	while (timerA < 8002)

	{
		if (sysTicked == 1)
			{
				timerA++;
				sysTicked = 0;
				timeKeeper();
				updateDisp();

				if (timerA == 1)
				{
					uint8_t data[] = {'$' , '1','0','_','_','_','_','_','_','\n'};

					HAL_UART_Transmit(&huart2, data, sizeof(data) , 100);

					copyMatrix(clearDisp);
					for (uint8_t i = 0; i <= 7; i++)
					{
						dispDat[i][0] = 1;
					}

				}

				else if (timerA == 1001)
				{
					uint8_t data[] = {'$' , '1','1','_','_','_','_','_','_','\n'};
					HAL_UART_Transmit(&huart2, data, sizeof(data) , 100);
					copyMatrix(clearDisp);
					for (uint8_t i = 0; i <= 7; i++)
					{
						dispDat[i][1] = 1;
					}

				}
				else if (timerA == 2001)
				{
					uint8_t data[] = {'$' , '1','2','_','_','_','_','_','_','\n'};
					HAL_UART_Transmit(&huart2, data, sizeof(data) , 100);

					copyMatrix(clearDisp);
					for (uint8_t i = 0; i <= 7; i++)
					{
						dispDat[i][2] = 1;
					}

				}
				else if (timerA == 3001)
				{
					uint8_t data[] = {'$' , '1','3','_','_','_','_','_','_','\n'};
					HAL_UART_Transmit(&huart2, data, sizeof(data) , 100);

					copyMatrix(clearDisp);
					for (uint8_t i = 0; i <= 7; i++)
					{
						dispDat[i][3] = 1;
					}

				}
				else if (timerA == 4001)
				{
					uint8_t data[] = {'$' , '1','4','_','_','_','_','_','_','\n'};
					HAL_UART_Transmit(&huart2, data, sizeof(data) , 100);

					copyMatrix(clearDisp);
					for (uint8_t i = 0; i <= 7; i++)
					{
						dispDat[i][4] = 1;
					}

				}
				else if (timerA == 5001)
				{
					uint8_t data[] = {'$' , '1','5','_','_','_','_','_','_','\n'};
										HAL_UART_Transmit(&huart2, data, sizeof(data) , 100);

										copyMatrix(clearDisp);
										for (uint8_t i = 0; i <= 7; i++)
										{
											dispDat[i][5] = 1;
										}
				}
				else if (timerA == 6001)
				{
					uint8_t data[] = {'$' , '1','6','_','_','_','_','_','_','\n'};
					HAL_UART_Transmit(&huart2, data, sizeof(data) , 100);

					copyMatrix(clearDisp);
					for (uint8_t i = 0; i <= 7; i++)
					{
						dispDat[i][6]= 1;
					}

				}
				else if (timerA == 7001)
				{
					uint8_t data[] = {'$' , '1','7','_','_','_','_','_','_','\n'};
					HAL_UART_Transmit(&huart2, data, sizeof(data) , 100);

					copyMatrix(clearDisp);
					for (uint8_t i = 0; i <= 7; i++)
					{
						dispDat[i][7] = 1;
					}

				}
				else if (timerA == 8001)
				{
					copyMatrix(clearDisp);
					dispDat[0][0] = 1;dispDat[0][7] = 1;dispDat[7][0] = 1;dispDat[7][7] = 1;

				}

			}

	}

}

  /* @brief  This function is executed in case of error occurrence.
  * @retval None
  */
void Error_Handler(void)
{
}

/************************ (C) COPYRIGHT STMicroelectronics *****END OF FILE****/
